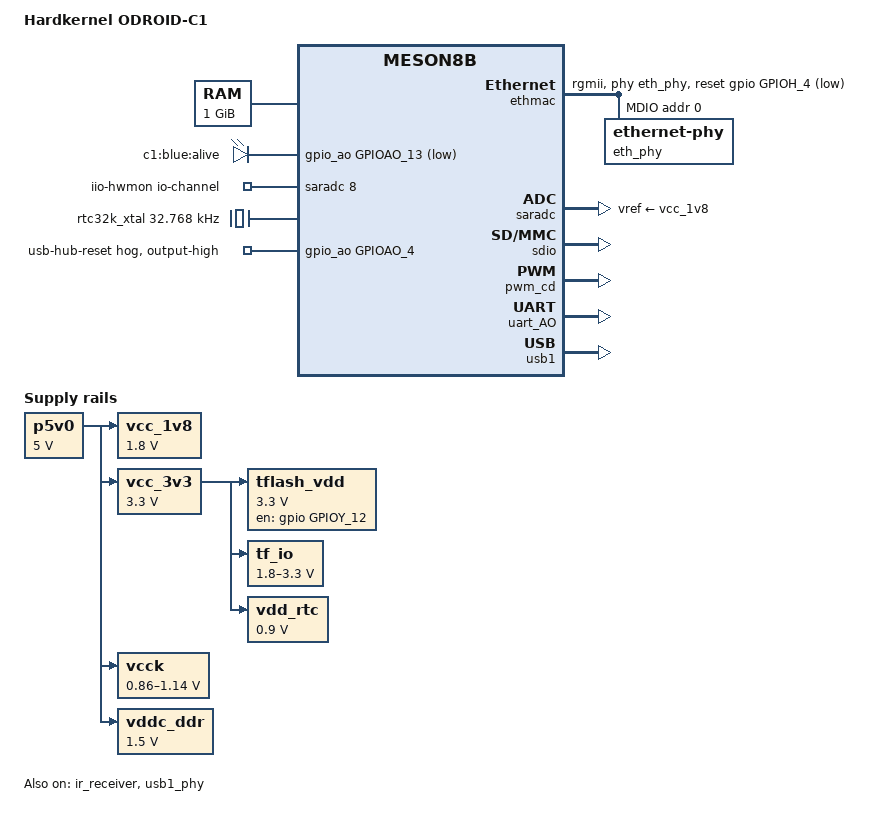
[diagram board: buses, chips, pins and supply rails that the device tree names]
/*
 * Copyright 2015 Endless Mobile, Inc.
 * Author: Carlo Caione <carlo@endlessm.com>
 *
 * This file is dual-licensed: you can use it either under the terms
 * of the GPL or the X11 license, at your option. Note that this dual
 * licensing only applies to this file, and not this project as a
 * whole.
 *
 *  a) This library is free software; you can redistribute it and/or
 *     modify it under the terms of the GNU General Public License as
 *     published by the Free Software Foundation; either version 2 of the
 *     License, or (at your option) any later version.
 *
 *     This library is distributed in the hope that it will be useful,
 *     but WITHOUT ANY WARRANTY; without even the implied warranty of
 *     MERCHANTABILITY or FITNESS FOR A PARTICULAR PURPOSE.  See the
 *     GNU General Public License for more details.
 *
 *     You should have received a copy of the GNU General Public License
 *     along with this program. If not, see <http://www.gnu.org/licenses/>.
 *
 * Or, alternatively,
 *
 *  b) Permission is hereby granted, free of charge, to any person
 *     obtaining a copy of this software and associated documentation
 *     files (the "Software"), to deal in the Software without
 *     restriction, including without limitation the rights to use,
 *     copy, modify, merge, publish, distribute, sublicense, and/or
 *     sell copies of the Software, and to permit persons to whom the
 *     Software is furnished to do so, subject to the following
 *     conditions:
 *
 *     The above copyright notice and this permission notice shall be
 *     included in all copies or substantial portions of the Software.
 *
 *     THE SOFTWARE IS PROVIDED "AS IS", WITHOUT WARRANTY OF ANY KIND,
 *     EXPRESS OR IMPLIED, INCLUDING BUT NOT LIMITED TO THE WARRANTIES
 *     OF MERCHANTABILITY, FITNESS FOR A PARTICULAR PURPOSE AND
 *     NONINFRINGEMENT. IN NO EVENT SHALL THE AUTHORS OR COPYRIGHT
 *     HOLDERS BE LIABLE FOR ANY CLAIM, DAMAGES OR OTHER LIABILITY,
 *     WHETHER IN AN ACTION OF CONTRACT, TORT OR OTHERWISE, ARISING
 *     FROM, OUT OF OR IN CONNECTION WITH THE SOFTWARE OR THE USE OR
 *     OTHER DEALINGS IN THE SOFTWARE.
 */

/dts-v1/;
#include "meson8b.dtsi"
#include <dt-bindings/gpio/gpio.h>

/ {
	model = "Hardkernel ODROID-C1";
	compatible = "hardkernel,odroid-c1", "amlogic,meson8b";

	aliases {
		serial0 = &uart_AO;
		mmc0 = &sd_card_slot;
	};

	chosen {
		stdout-path = "serial0:115200n8";
	};

	memory {
		device_type = "memory";
		reg = <0x40000000 0x40000000>;
	};

	leds {
		compatible = "gpio-leds";
		blue {
			label = "c1:blue:alive";
			gpios = <&gpio_ao GPIOAO_13 GPIO_ACTIVE_LOW>;
			linux,default-trigger = "heartbeat";
			default-state = "off";
		};
	};

	p5v0: regulator-p5v0 {
		compatible = "regulator-fixed";

		regulator-name = "P5V0";
		regulator-min-microvolt = <5000000>;
		regulator-max-microvolt = <5000000>;
	};

	tflash_vdd: regulator-tflash_vdd {
		/*
		 * signal name from schematics: TFLASH_VDD_EN
		 */
		compatible = "regulator-fixed";

		regulator-name = "TFLASH_VDD";
		regulator-min-microvolt = <3300000>;
		regulator-max-microvolt = <3300000>;

		vin-supply = <&vcc_3v3>;

		gpio = <&gpio GPIOY_12 GPIO_ACTIVE_HIGH>;
		enable-active-high;
	};

	tf_io: gpio-regulator-tf_io {
		compatible = "regulator-gpio";

		regulator-name = "TF_IO";
		regulator-min-microvolt = <1800000>;
		regulator-max-microvolt = <3300000>;

		vin-supply = <&vcc_3v3>;

		/*
		 * signal name from schematics: TF_3V3N_1V8_EN
		 */
		gpios = <&gpio_ao GPIOAO_3 GPIO_ACTIVE_HIGH>;
		gpios-states = <0>;

		states = <3300000 0
			  1800000 1>;
	};

	iio-hwmon {
		compatible = "iio-hwmon";
		io-channels = <&saradc 8>;
	};

	rtc32k_xtal: rtc32k-xtal-clk {
		/* X3 in the schematics */
		compatible = "fixed-clock";
		clock-frequency = <32768>;
		clock-output-names = "RTC32K";
		#clock-cells = <0>;
	};

	vcc_1v8: regulator-vcc-1v8 {
		/*
		 * RICHTEK RT9179 configured for a fixed output voltage of
		 * 1.8V. This supplies not only VCC1V8 but also IOREF_1V8 and
		 * VDD1V8 according to the schematics.
		 */
		compatible = "regulator-fixed";

		regulator-name = "VCC1V8";
		regulator-min-microvolt = <1800000>;
		regulator-max-microvolt = <1800000>;

		vin-supply = <&p5v0>;
	};

	vcc_3v3: regulator-vcc-3v3 {
		/*
		 * Monolithic Power Systems MP2161 configured for a fixed
		 * output voltage of 3.3V. This supplies not only VCC3V3 but
		 * also VDD3V3 and VDDIO_AO3V3 according to the schematics.
		 */
		compatible = "regulator-fixed";

		regulator-name = "VCC3V3";
		regulator-min-microvolt = <3300000>;
		regulator-max-microvolt = <3300000>;

		vin-supply = <&p5v0>;
	};

	vcck: regulator-vcck {
		/* Monolithic Power Systems MP2161 */
		compatible = "pwm-regulator";

		regulator-name = "VCCK";
		regulator-min-microvolt = <860000>;
		regulator-max-microvolt = <1140000>;

		vin-supply = <&p5v0>;

		pwms = <&pwm_cd 0 12218 0>;
		pwm-dutycycle-range = <91 0>;

		regulator-boot-on;
		regulator-always-on;
	};

	vddc_ddr: regulator-vddc-ddr {
		/*
		 * Monolithic Power Systems MP2161 configured for a fixed
		 * output voltage of 1.5V. This supplies not only DDR_VDDC but
		 * also DDR3_1V5 according to the schematics.
		 */
		compatible = "regulator-fixed";

		regulator-name = "DDR_VDDC";
		regulator-min-microvolt = <1500000>;
		regulator-max-microvolt = <1500000>;

		vin-supply = <&p5v0>;
	};

	vdd_rtc: regulator-vdd-rtc {
		/*
		 * Torex Semiconductor XC6215 configured for a fixed output of
		 * 0.9V.
		 */
		compatible = "regulator-fixed";

		regulator-name = "VDD_RTC";
		regulator-min-microvolt = <900000>;
		regulator-max-microvolt = <900000>;

		vin-supply = <&vcc_3v3>;
	};
};

&cpu0 {
	cpu-supply = <&vcck>;
};

&ethmac {
	status = "okay";

	snps,reset-gpio = <&gpio GPIOH_4 GPIO_ACTIVE_HIGH>;
	snps,reset-active-low;
	snps,reset-delays-us = <0 10000 30000>;

	pinctrl-0 = <&eth_rgmii_pins>;
	pinctrl-names = "default";

	phy-mode = "rgmii";
	phy-handle = <&eth_phy>;
	amlogic,tx-delay-ns = <4>;

	mdio {
		compatible = "snps,dwmac-mdio";
		#address-cells = <1>;
		#size-cells = <0>;

		/* Realtek RTL8211F (0x001cc916) */
		eth_phy: ethernet-phy@0 {
			reg = <0>;
			interrupt-parent = <&gpio_intc>;
			/* GPIOH_3 */
			interrupts = <17 IRQ_TYPE_LEVEL_LOW>;
		};
	};
};

&gpio {
	gpio-line-names = /* Bank GPIOX */
			  "J2 Header Pin 35", "J2 Header Pin 36",
			  "J2 Header Pin 32", "J2 Header Pin 31",
			  "J2 Header Pin 29", "J2 Header Pin 18",
			  "J2 Header Pin 22", "J2 Header Pin 16",
			  "J2 Header Pin 23", "J2 Header Pin 21",
			  "J2 Header Pin 19", "J2 Header Pin 33",
			  "J2 Header Pin 8", "J2 Header Pin 10",
			  "J2 Header Pin 15", "J2 Header Pin 13",
			  "J2 Header Pin 24", "J2 Header Pin 26",
			  /* Bank GPIOY */
			  "Revision (upper)", "Revision (lower)",
			  "J2 Header Pin 7", "", "J2 Header Pin 12",
			  "J2 Header Pin 11", "", "", "",
			  "TFLASH_VDD_EN", "", "",
			  /* Bank GPIODV */
			  "VCCK_PWM (PWM_C)", "I2CA_SDA", "I2CA_SCL",
			  "I2CB_SDA", "I2CB_SCL", "VDDEE_PWM (PWM_D)",
			  "",
			  /* Bank GPIOH */
			  "HDMI_HPD", "HDMI_I2C_SDA", "HDMI_I2C_SCL",
			  "ETH_PHY_INTR", "ETH_PHY_NRST", "ETH_TXD1",
			  "ETH_TXD0", "ETH_TXD3", "ETH_TXD2",
			  "ETH_RGMII_TX_CLK",
			  /* Bank CARD */
			  "SD_DATA1 (SDB_D1)", "SD_DATA0 (SDB_D0)",
			  "SD_CLK",  "SD_CMD", "SD_DATA3 (SDB_D3)",
			  "SD_DATA2 (SDB_D2)", "SD_CDN (SD_DET_N)",
			  /* Bank BOOT */
			  "SDC_D0 (EMMC)", "SDC_D1 (EMMC)",
			  "SDC_D2 (EMMC)", "SDC_D3 (EMMC)",
			  "SDC_D4 (EMMC)", "SDC_D5 (EMMC)",
			  "SDC_D6 (EMMC)", "SDC_D7 (EMMC)",
			  "SDC_CLK (EMMC)", "SDC_RSTn (EMMC)",
			  "SDC_CMD (EMMC)", "BOOT_SEL", "", "", "",
			  "", "", "", "",
			  /* Bank DIF */
			  "ETH_RXD1", "ETH_RXD0", "ETH_RX_DV",
			  "RGMII_RX_CLK", "ETH_RXD3", "ETH_RXD2",
			  "ETH_TXEN", "ETH_PHY_REF_CLK_25MOUT",
			  "ETH_MDC", "ETH_MDIO";
};

&gpio_ao {
	gpio-line-names = "UART TX", "UART RX", "",
			  "TF_3V3N_1V8_EN", "USB_HUB_RST_N",
			  "USB_OTG_PWREN", "J7 Header Pin 2",
			  "IR_IN", "J7 Header Pin 4",
			  "J7 Header Pin 6", "J7 Header Pin 5",
			  "J7 Header Pin 7", "HDMI_CEC",
			  "SYS_LED", "", "";

	/*
	 * WARNING: The USB Hub on the Odroid-C1/C1+ needs a reset signal
	 * to be turned high in order to be detected by the USB Controller.
	 * This signal should be handled by a USB specific power sequence
	 * in order to reset the Hub when USB bus is powered down.
	 */
	usb-hub {
		gpio-hog;
		gpios = <GPIOAO_4 GPIO_ACTIVE_HIGH>;
		output-high;
		line-name = "usb-hub-reset";
	};
};

&ir_receiver {
	status = "okay";
	pinctrl-0 = <&ir_recv_pins>;
	pinctrl-names = "default";
};

&saradc {
	status = "okay";
	vref-supply = <&vcc_1v8>;
};

&sdio {
	status = "okay";

	pinctrl-0 = <&sd_b_pins>;
	pinctrl-names = "default";

	/* SD card */
	sd_card_slot: slot@1 {
		compatible = "mmc-slot";
		reg = <1>;
		status = "okay";

		bus-width = <4>;
		no-sdio;
		cap-mmc-highspeed;
		cap-sd-highspeed;
		disable-wp;

		cd-gpios = <&gpio CARD_6 GPIO_ACTIVE_LOW>;

		vmmc-supply = <&tflash_vdd>;
		vqmmc-supply = <&tf_io>;
	};
};

&pwm_cd {
	status = "okay";
	pinctrl-0 = <&pwm_c1_pins>;
	pinctrl-names = "default";
	clocks = <&clkc CLKID_XTAL>;
	clock-names = "clkin0";
};

&rtc {
	/* needs to be enabled manually when a battery is connected */
	clocks = <&rtc32k_xtal>;
	vdd-supply = <&vdd_rtc>;
};

&uart_AO {
	status = "okay";
	pinctrl-0 = <&uart_ao_a_pins>;
	pinctrl-names = "default";
};

&usb1_phy {
	status = "okay";
};

&usb1 {
	status = "okay";
};
